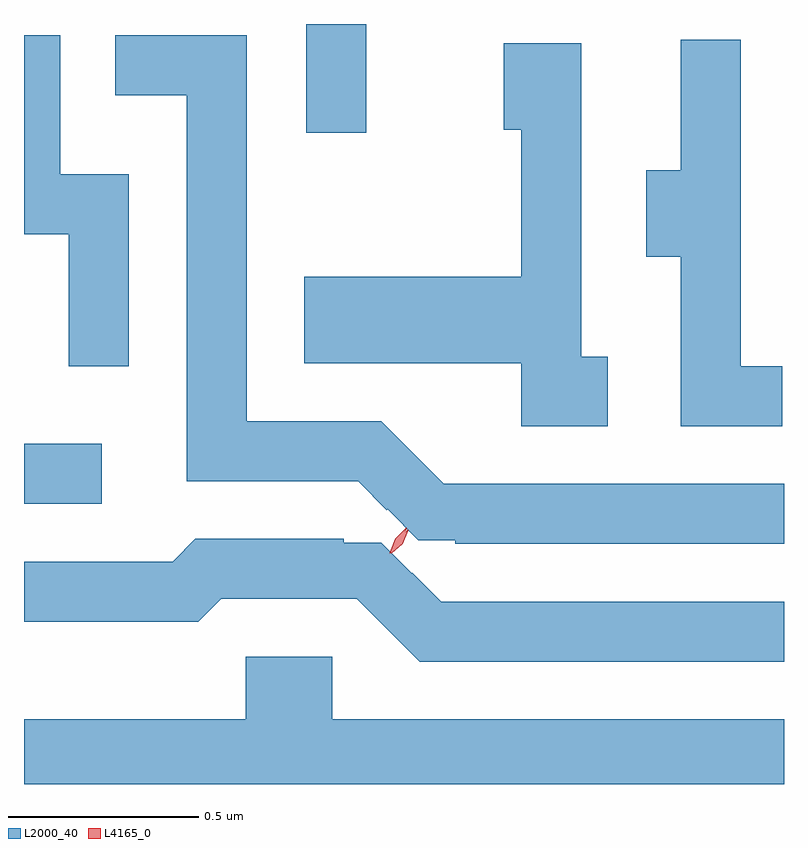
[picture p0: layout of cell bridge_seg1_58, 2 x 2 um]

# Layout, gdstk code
import gdstk
lib = gdstk.Library(unit=1e-6, precision=1e-09)
def R(c, l, rs):  # rectangles x0, y0, x1, y1
    for r in rs: c.add(gdstk.rectangle(r[:2], r[2:], *l))
def P(c, l, *ps):  # polygons
    for p in ps: c.add(gdstk.Polygon(p, *l))
L2000_40 = (2000, 40)
L4165_0 = (4165, 0)

bridge_seg1_58 = lib.new_cell('bridge_seg1_58')
R(bridge_seg1_58, L2000_40, [(1895.773,840.471,1895.978,840.629), (1896.516,841.448,1896.674,841.734)])
P(bridge_seg1_58, L2000_40, [(1896.049,841.339),(1895.869,841.339),(1895.869,841.704),(1895.773,841.704),(1895.773,841.181),(1895.891,841.181),(1895.891,840.833),(1896.049,840.833)],
  [(1897.773,840.524),(1896.878,840.524),(1896.713,840.689),(1896.359,840.689),(1896.359,841.704),(1896.013,841.704),(1896.013,841.546),(1896.201,841.546),(1896.201,840.531),(1896.652,840.531),(1896.728,840.455),(1896.73,840.457),(1896.811,840.376),(1896.908,840.376),(1896.908,840.366),(1897.773,840.366)],
  [(1897.768,840.834),(1897.659,840.834),(1897.659,841.693),(1897.501,841.693),(1897.501,841.349),(1897.411,841.349),(1897.411,841.121),(1897.501,841.121),(1897.501,840.676),(1897.768,840.676)],
  [(1897.309,840.859),(1897.239,840.859),(1897.239,841.684),(1897.036,841.684),(1897.036,841.456),(1897.081,841.456),(1897.081,841.069),(1896.511,841.069),(1896.511,840.841),(1897.081,840.841),(1897.081,840.676),(1897.309,840.676)],
  [(1897.773,840.214),(1896.871,840.214),(1896.795,840.29),(1896.793,840.288),(1896.713,840.369),(1896.615,840.369),(1896.615,840.379),(1896.224,840.379),(1896.164,840.319),(1895.773,840.319),(1895.773,840.161),(1896.232,840.161),(1896.292,840.221),(1896.649,840.221),(1896.814,840.056),(1897.773,840.056)],
  [(1897.773,839.904),(1896.584,839.904),(1896.584,840.069),(1896.356,840.069),(1896.356,839.904),(1895.773,839.904),(1895.773,839.734),(1897.773,839.734)])
P(bridge_seg1_58, L4165_0, [(1896.736,840.341),(1896.736,840.342),(1896.75,840.38),(1896.779,840.408),(1896.779,840.408),(1896.78,840.408),(1896.766,840.369),(1896.737,840.341)],
  [(1896.74,840.341),(1896.74,840.342),(1896.754,840.378),(1896.783,840.403),(1896.784,840.403),(1896.784,840.402),(1896.77,840.366),(1896.741,840.341)])

lib.write_gds('bridge_seg1_58.gds')
